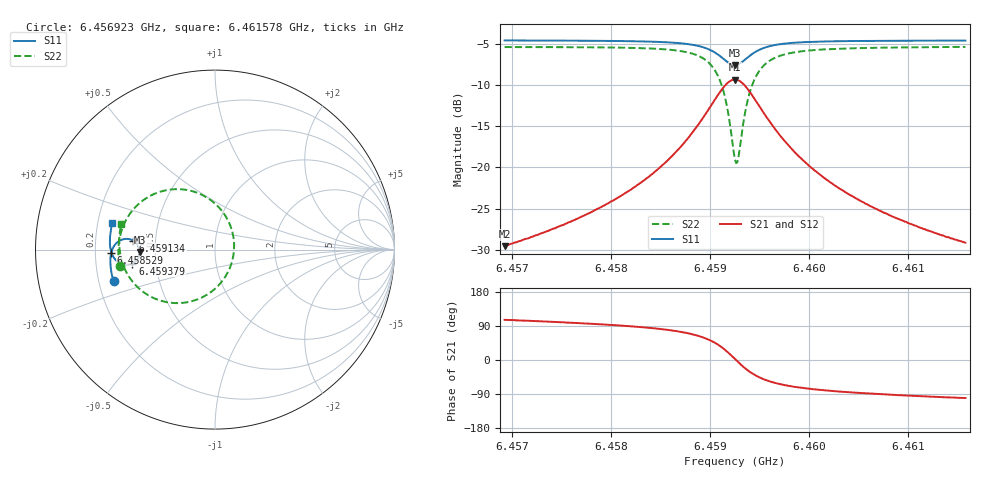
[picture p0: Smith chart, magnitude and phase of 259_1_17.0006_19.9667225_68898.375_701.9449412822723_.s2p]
#  HZ  S  RI  R  50.00
! Rohde & Schwarz Vector Network Analyzer
! Rohde-Schwarz,ZNB20-2Port,1311601062101988,3.16
! Created: UTC 3/20/2024, 11:03:42 PM
! freq[Hz]  re:S11  im:S11  re:S21  im:S21  re:S12  im:S12  re:S22  im:S22
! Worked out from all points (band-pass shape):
!   401 points, 6.456923 GHz to 6.461578 GHz, reference 50 ohm
!   highest |S21| = -9.30 dB at 6.459251 GHz (marker M1); lowest = -29.6 dB at 6.456923 GHz (marker M2)
!   |S21| within 3 dB of the highest: 6.459018 GHz to 6.459483 GHz (465.2 kHz wide, 0.0072 % of centre)
!   lowest |S11| = -7.5 dB at 6.459251 GHz (marker M3), VSWR 2.45, Z = 20.4 - j0.628 ohm
!   |S11| at or under -10 dB: nowhere
!   |S22| runs from -19.5 to -5.3 dB; largest |S21 - S12| = 0.013
!   S11 on the Smith chart (normalised r, x): 6.456923 GHz: 0.26, -0.14; 6.458529 GHz: 0.27, -0.01; 6.459134 GHz: 0.37, +0.05; 6.459379 GHz: 0.37, -0.07; 6.461578 GHz: 0.26, +0.12
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6.4569233e9  -0.5652 -0.1771  -0.00915 0.0319  -0.00751 0.0319  -0.5317 -0.0939
6.457703e9  -0.5798 -0.1092  -0.00606 0.0498  -0.00348 0.0494  -0.5383 -0.00324
6.4581336e9  -0.5831 -0.0663  -0.000203 0.0693  0.00303 0.068  -0.5311 0.0645
6.4584828e9  -0.5796 -0.0248  0.0133 0.098  0.0173 0.0955  -0.5064 0.1426
6.4585293e9  -0.5783 -0.0186  0.0166 0.1034  0.0207 0.1006  -0.5003 0.1558
6.4587388e9  -0.5662 0.0134  0.0425 0.1351  0.0467 0.1304  -0.452 0.2275
6.4588901e9  -0.5453 0.0398  0.0848 0.1654  0.088 0.1589  -0.374 0.2921
6.4590414e9  -0.4994 0.0595  0.176 0.1847  0.1771 0.1774  -0.2069 0.3368
6.4591345e9  -0.4552 0.0497  0.2655 0.1541  0.266 0.1482  -0.0411 0.2876
6.459181e9  -0.4341 0.031  0.3091 0.1115  0.3104 0.1063  0.0417 0.2118
6.4592508e9  -0.4194 -0.0127  0.3424 0.0154  0.346 0.00848  0.1064 0.0332
6.4592625e9  -0.4198 -0.0206  0.3423 -0.00215  0.3461 -0.0097  0.1062 2.89e-05
6.4592858e9  -0.4233 -0.0361  0.3367 -0.0366  0.3406 -0.0456  0.0953 -0.0656
6.4593323e9  -0.4387 -0.0618  0.3086 -0.0961  0.3107 -0.1079  0.0383 -0.1777
6.4593789e9  -0.4606 -0.0779  0.2669 -0.1368  0.2662 -0.1499  -0.0459 -0.252
6.459472e9  -0.5036 -0.0846  0.1831 -0.1679  0.177 -0.1793  -0.213 -0.2982
6.4596232e9  -0.547 -0.0641  0.0961 -0.1547  0.0876 -0.1607  -0.3794 -0.2497
6.4597862e9  -0.5683 -0.0367  0.0515 -0.1273  0.044 -0.13  -0.4595 -0.1784
6.4600306e9  -0.5811 -0.00118  0.0226 -0.0962  0.0168 -0.0967  -0.5075 -0.0966
6.4603913e9  -0.5857 0.0413  0.00621 -0.069  0.00218 -0.0687  -0.5295 -0.0154
6.4608103e9  -0.5838 0.0832  -0.00126 -0.0513  -0.00405 -0.0506  -0.5336 0.0508
6.4615784e9  -0.5714 0.151  -0.00623 -0.0343  -0.00806 -0.0334  -0.5225 0.1412
